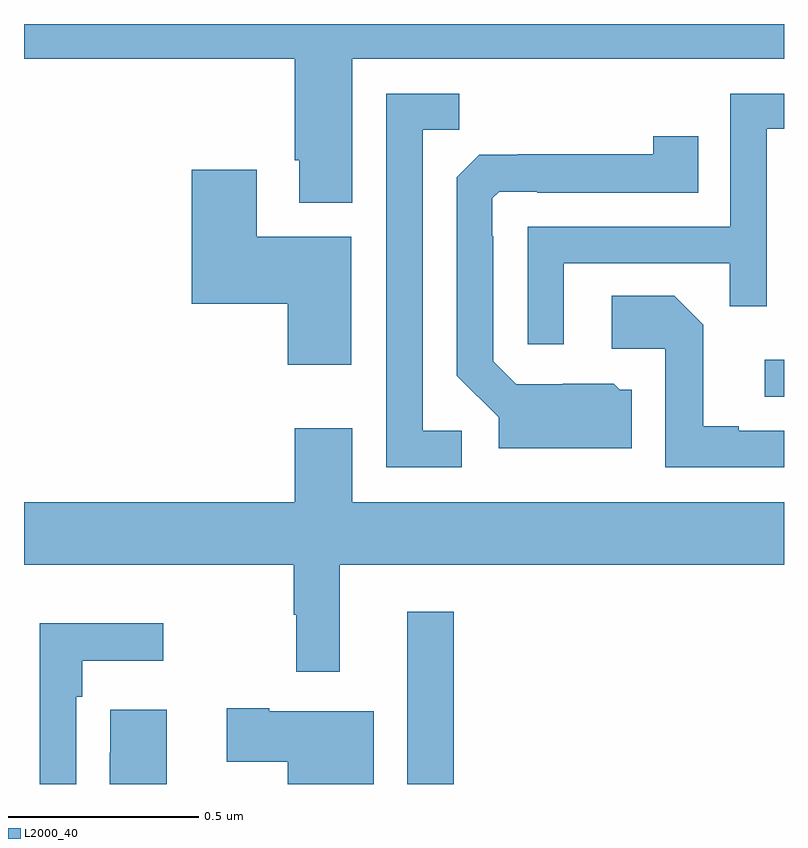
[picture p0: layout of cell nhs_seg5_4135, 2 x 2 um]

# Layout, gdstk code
import gdstk
lib = gdstk.Library(unit=1e-6, precision=1e-09)
def R(c, l, rs):  # rectangles x0, y0, x1, y1
    for r in rs: c.add(gdstk.rectangle(r[:2], r[2:], *l))
def P(c, l, *ps):  # polygons
    for p in ps: c.add(gdstk.Polygon(p, *l))
L2000_40 = (2000, 40)

nhs_seg5_4135 = lib.new_cell('nhs_seg5_4135')
R(nhs_seg5_4135, L2000_40, [(167.009,906.799,167.131,907.252), (167.949,907.818,168,907.915)])
P(nhs_seg5_4135, L2000_40, [(166.864,908.708),(168,908.708),(168,908.799),(166,908.799),(166,908.708),(166.712,908.708),(166.712,908.44),(166.724,908.44),(166.724,908.328),(166.864,908.328)],
  [(167.152,907.728),(167.049,907.728),(167.049,908.521),(167.145,908.521),(167.145,908.616),(166.953,908.616),(166.953,907.632),(167.152,907.632)],
  [(167.421,908.169),(167.857,908.169),(167.857,908.056),(167.955,908.056),(167.955,908.523),(168,908.523),(168,908.616),(167.859,908.616),(167.859,908.265),(167.325,908.265),(167.325,907.956),(167.421,907.956)],
  [(167.599,907.836),(167.568,907.836),(167.552,907.852),(167.418,907.852),(167.418,907.851),(167.295,907.851),(167.235,907.911),(167.235,908.24),(167.232,908.24),(167.232,908.34),(167.25,908.358),(167.35,908.358),(167.35,908.355),(167.774,908.355),(167.774,908.503),(167.656,908.503),(167.656,908.456),(167.299,908.456),(167.299,908.455),(167.198,908.455),(167.139,908.396),(167.139,907.874),(167.249,907.764),(167.249,907.682),(167.599,907.682)],
  [(166.861,908.239),(166.612,908.239),(166.612,908.416),(166.442,908.416),(166.442,908.063),(166.694,908.063),(166.694,907.902),(166.861,907.902)],
  [(168,907.728),(167.881,907.728),(167.881,907.741),(167.787,907.741),(167.787,908.008),(167.711,908.084),(167.547,908.084),(167.547,907.944),(167.688,907.944),(167.688,907.632),(168,907.632)],
  [(166.831,907.376),(168,907.376),(168,907.54),(166.864,907.54),(166.864,907.735),(166.712,907.735),(166.712,907.54),(166,907.54),(166,907.376),(166.71,907.376),(166.71,907.244),(166.717,907.244),(166.717,907.095),(166.831,907.095)],
  [(166.137,907.028),(166.153,907.028),(166.153,907.124),(166.366,907.124),(166.366,907.222),(166.041,907.222),(166.041,906.799),(166.137,906.799)],
  [(166.921,906.991),(166.645,906.991),(166.645,906.999),(166.533,906.999),(166.533,906.857),(166.694,906.857),(166.694,906.799),(166.921,906.799)],
  [(166.375,906.994),(166.227,906.994),(166.227,906.881),(166.226,906.881),(166.226,906.799),(166.375,906.799)])

lib.write_gds('nhs_seg5_4135.gds')
